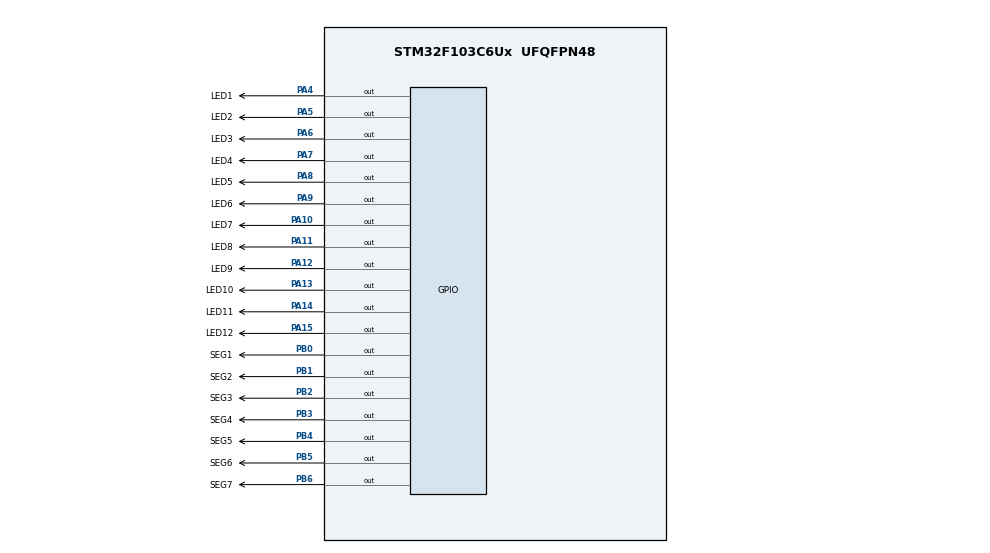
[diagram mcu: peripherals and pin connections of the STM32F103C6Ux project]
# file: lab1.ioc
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Mcu.Family=STM32F1
Mcu.Name=STM32F103C6Ux
Mcu.Package=UFQFPN48
NVIC.PriorityGroup=NVIC_PRIORITYGROUP_4
PA10.GPIO_Label=LED7
PA10.Signal=GPIO_Output
PA11.GPIO_Label=LED8
PA11.Signal=GPIO_Output
PA12.GPIO_Label=LED9
PA12.Signal=GPIO_Output
PA13.GPIO_Label=LED10
PA13.Signal=GPIO_Output
PA14.GPIO_Label=LED11
PA14.Signal=GPIO_Output
PA15.GPIO_Label=LED12
PA15.Signal=GPIO_Output
PA4.GPIO_Label=LED1
PA4.Signal=GPIO_Output
PA5.GPIO_Label=LED2
PA5.Signal=GPIO_Output
PA6.GPIO_Label=LED3
PA6.Signal=GPIO_Output
PA7.GPIO_Label=LED4
PA7.Signal=GPIO_Output
PA8.GPIO_Label=LED5
PA8.Signal=GPIO_Output
PA9.GPIO_Label=LED6
PA9.Signal=GPIO_Output
PB0.GPIO_Label=SEG1
PB0.Signal=GPIO_Output
PB1.GPIO_Label=SEG2
PB1.Signal=GPIO_Output
PB2.GPIO_Label=SEG3
PB2.Signal=GPIO_Output
PB3.GPIO_Label=SEG4
PB3.Signal=GPIO_Output
PB4.GPIO_Label=SEG5
PB4.Signal=GPIO_Output
PB5.GPIO_Label=SEG6
PB5.Signal=GPIO_Output
PB6.GPIO_Label=SEG7
PB6.Signal=GPIO_Output
ProjectManager.HeapSize=0x200
ProjectManager.StackSize=0x400
ProjectManager.TargetToolchain=STM32CubeIDE
RCC.APB1Freq_Value=8000000
RCC.APB2Freq_Value=8000000
VP_SYS_VS_ND.Mode=No_Debug
board=custom

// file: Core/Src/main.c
/* USER CODE BEGIN Header */
/**
  ******************************************************************************
  * @file           : main.c
  * @brief          : Main program body
  ******************************************************************************
  * @attention
  *
  * <h2><center>&copy; Copyright (c) 2024 STMicroelectronics.
  * All rights reserved.</center></h2>
  *
  * This software component is licensed by ST under BSD 3-Clause license,
  * the "License"; You may not use this file except in compliance with the
  * License. You may obtain a copy of the License at:
  *                        opensource.org/licenses/BSD-3-Clause
  *
  ******************************************************************************
  */
/* USER CODE END Header */
#include "main.h"

void SystemClock_Config(void);
static void MX_GPIO_Init(void);

int main(void)
{

  /* MCU Configuration--------------------------------------------------------*/

  /* Reset of all peripherals, Initializes the Flash interface and the Systick. */
  HAL_Init();

  /* Configure the system clock */
  SystemClock_Config();

  /* Initialize all configured peripherals */
  MX_GPIO_Init();

  /* Infinite loop */
  /* USER CODE BEGIN WHILE */

clearAllclock();
int hour=0;
int minute=0;
int second=0;
  while (1)
  {
	  displayClock(hour, minute, second);
		second++;
		if(second>60)
		{
			minute++;
			second=0;
		}
		if(minute>60)
		{
			hour++;
			minute=0;
		}
		if(hour>12)
		{
			hour=0;
		}
		HAL_Delay(50);
    /* USER CODE END WHILE */

  }
}

void SystemClock_Config(void)
{
  RCC_OscInitTypeDef RCC_OscInitStruct = {0};
  RCC_ClkInitTypeDef RCC_ClkInitStruct = {0};

  /** Initializes the RCC Oscillators according to the specified parameters
  * in the RCC_OscInitTypeDef structure.
  */
  RCC_OscInitStruct.OscillatorType = RCC_OSCILLATORTYPE_HSI;
  RCC_OscInitStruct.HSIState = RCC_HSI_ON;
  RCC_OscInitStruct.HSICalibrationValue = RCC_HSICALIBRATION_DEFAULT;
  RCC_OscInitStruct.PLL.PLLState = RCC_PLL_NONE;
  if (HAL_RCC_OscConfig(&RCC_OscInitStruct) != HAL_OK)
  {
    Error_Handler();
  }
  /** Initializes the CPU, AHB and APB buses clocks
  */
  RCC_ClkInitStruct.ClockType = RCC_CLOCKTYPE_HCLK|RCC_CLOCKTYPE_SYSCLK
                              |RCC_CLOCKTYPE_PCLK1|RCC_CLOCKTYPE_PCLK2;
  RCC_ClkInitStruct.SYSCLKSource = RCC_SYSCLKSOURCE_HSI;
  RCC_ClkInitStruct.AHBCLKDivider = RCC_SYSCLK_DIV1;
  RCC_ClkInitStruct.APB1CLKDivider = RCC_HCLK_DIV1;
  RCC_ClkInitStruct.APB2CLKDivider = RCC_HCLK_DIV1;

  if (HAL_RCC_ClockConfig(&RCC_ClkInitStruct, FLASH_LATENCY_0) != HAL_OK)
  {
    Error_Handler();
  }
}

static void MX_GPIO_Init(void)
{
  GPIO_InitTypeDef GPIO_InitStruct = {0};

  /* GPIO Ports Clock Enable */
  __HAL_RCC_GPIOA_CLK_ENABLE();
  __HAL_RCC_GPIOB_CLK_ENABLE();

  /*Configure GPIO pin Output Level */
  HAL_GPIO_WritePin(GPIOA, LED1_Pin|LED2_Pin|LED3_Pin|LED4_Pin
                          |LED5_Pin|LED6_Pin|LED7_Pin|LED8_Pin
                          |LED9_Pin|LED10_Pin|LED11_Pin|LED12_Pin, GPIO_PIN_RESET);

  /*Configure GPIO pin Output Level */
  HAL_GPIO_WritePin(GPIOB, SEG1_Pin|SEG2_Pin|SEG3_Pin|SEG4_Pin
                          |SEG5_Pin|SEG6_Pin|SEG7_Pin, GPIO_PIN_RESET);

  /*Configure GPIO pins : LED1_Pin LED2_Pin LED3_Pin LED4_Pin
                           LED5_Pin LED6_Pin LED7_Pin LED8_Pin
                           LED9_Pin LED10_Pin LED11_Pin LED12_Pin */
  GPIO_InitStruct.Pin = LED1_Pin|LED2_Pin|LED3_Pin|LED4_Pin
                          |LED5_Pin|LED6_Pin|LED7_Pin|LED8_Pin
                          |LED9_Pin|LED10_Pin|LED11_Pin|LED12_Pin;
  GPIO_InitStruct.Mode = GPIO_MODE_OUTPUT_PP;
  GPIO_InitStruct.Pull = GPIO_NOPULL;
  GPIO_InitStruct.Speed = GPIO_SPEED_FREQ_LOW;
  HAL_GPIO_Init(GPIOA, &GPIO_InitStruct);

  /*Configure GPIO pins : SEG1_Pin SEG2_Pin SEG3_Pin SEG4_Pin
                           SEG5_Pin SEG6_Pin SEG7_Pin */
  GPIO_InitStruct.Pin = SEG1_Pin|SEG2_Pin|SEG3_Pin|SEG4_Pin
                          |SEG5_Pin|SEG6_Pin|SEG7_Pin;
  GPIO_InitStruct.Mode = GPIO_MODE_OUTPUT_PP;
  GPIO_InitStruct.Pull = GPIO_NOPULL;
  GPIO_InitStruct.Speed = GPIO_SPEED_FREQ_LOW;
  HAL_GPIO_Init(GPIOB, &GPIO_InitStruct);

}

void Error_Handler(void)
{
  __disable_irq();
  while (1)
  {
  }
}

/************************ (C) COPYRIGHT STMicroelectronics *****END OF FILE****/
